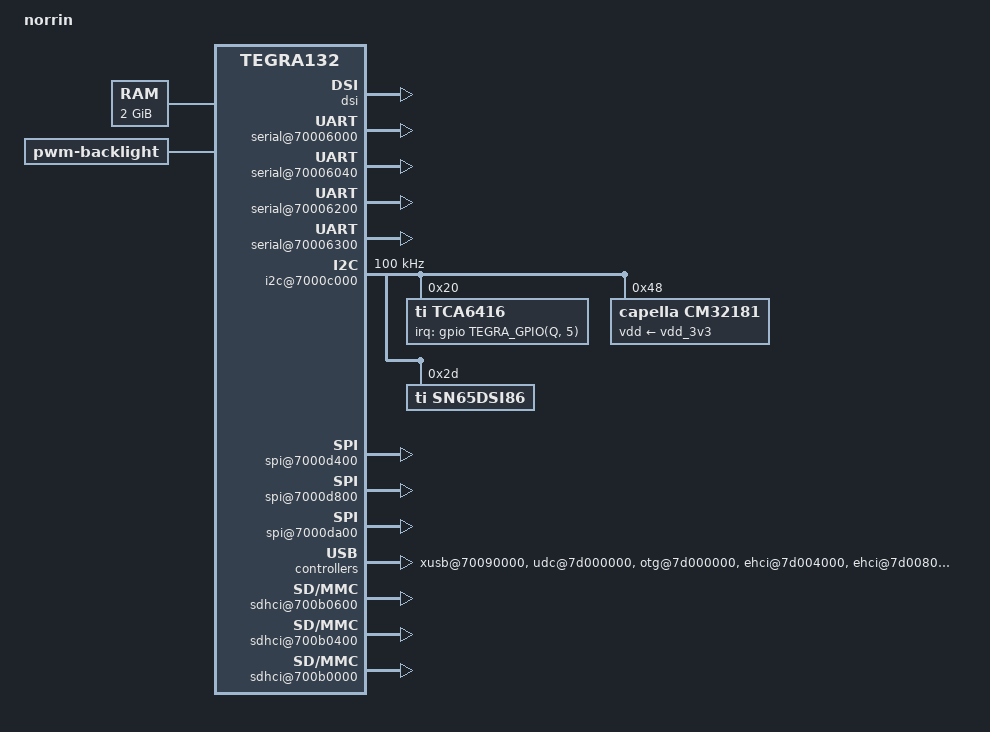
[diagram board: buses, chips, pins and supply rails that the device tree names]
/*
 * Copyright (c) 2014, NVIDIA CORPORATION.  All rights reserved.
 *
 * This program is free software; you can redistribute it and/or modify
 * it under the terms of the GNU General Public License as published by
 * the Free Software Foundation; either version 2 of the License, or
 * (at your option) any later version.
 *
 * This program is distributed in the hope that it will be useful, but WITHOUT
 * ANY WARRANTY; without even the implied warranty of MERCHANTABILITY or
 * FITNESS FOR A PARTICULAR PURPOSE.  See the GNU General Public License for
 * more details.
 *
 * You should have received a copy of the GNU General Public License along
 * with this program; if not, write to the Free Software Foundation, Inc.,
 * 51 Franklin Street, Fifth Floor, Boston, MA  02110-1301, USA.
 */

#define TEGRA132_PACKAGE_IS_MID
#include "tegra132-soc-shield.dtsi"
#include "tegra124-platforms/tegra124-pm374-gpio-default.dtsi"
#include "tegra124-platforms/tegra124-pm374-pinmux.dtsi"
#include "tegra124-platforms/tegra124-norrin-keys-pm374-0000-a00.dtsi"
#include "panel-a-edp-1080p-14-0.dtsi"
#include "panel-a-1080p-14-0.dtsi"
#include "panel-p-wuxga-10-1.dtsi"
#include "tegra124-platforms/tegra124-laguna-hdmi-pm359-1000-a00.dtsi"
#include "tegra124-platforms/tegra124-norrin-power-tree-pm374-0000-a00.dtsi"
#include "tegra132-platforms/tegra132-norrin-camera-a00.dtsi"
#include "tegra132-platforms/tegra132-sdhci.dtsi"

/ {
	model = "norrin";
	compatible = "nvidia,norrin", "nvidia,tegra132";
	#address-cells = <2>;
	#size-cells = <2>;

	chosen {
		bootargs = "tegraid=40.0.0.00.00 vmalloc=256M video=tegrafb earlycon=uart8250,mmio32,0x70006300";
		stdout-path = &uartd;
		linux,initrd-start = <0x82080000>;
		linux,initrd-end = <0x824B5300>;
	};

	firmware {
		android {
			compatible = "android,firmware";
			hardware = "norrin";
		};
	};

	host1x {
		/* tegradc.0 */
		dc@54200000 {
			status = "okay";
			nvidia,dc-flags = <TEGRA_DC_FLAG_ENABLED>;
			nvidia,emc-clk-rate = <204000000>;
			nvidia,cmu-enable = <1>;
			nvidia,low-v-win = <0x2>;
			nvidia,fb-bpp = <32>; /* bits per pixel */
			nvidia,fb-flags = <TEGRA_FB_FLIP_ON_PROBE>;
		};
		/* tegradc.1 */
		dc@54240000 {
			status = "okay";
			nvidia,dc-flags = <TEGRA_DC_FLAG_ENABLED>;
			nvidia,emc-clk-rate = <300000000>;
			nvidia,fb-bpp = <32>; /* bits per pixel */
			nvidia,fb-flags = <TEGRA_FB_FLIP_ON_PROBE>;
		};
		dsi {
			nvidia,dsi-controller-vs = <1>;
			status = "okay";
			panel-a-1080p-14-0 {
				nvidia,dsi-edp-bridge = <TEGRA_DSI_ENABLE>;
				nvidia,panel-rst-gpio = <&gpio TEGRA_GPIO(H, 3) 0>; /* PH3 */
				nvidia,panel-bl-pwm-gpio = <&gpio TEGRA_GPIO(H, 1) 0>; /* PH1 */
				nvidia,panel-bridge-en-0-gpio = <&gpio TEGRA_GPIO(I, 0) 0>; /* PI0 */
				nvidia,panel-bridge-refclk-en-gpio = <&gpio TEGRA_GPIO(G, 4) 0>; /* PG4 */
			};
                        panel-p-wuxga-10-1 {
				nvidia,dsi-dpd-pads = <DSIC_DPD_EN DSID_DPD_EN>;
                                nvidia,panel-rst-gpio = <&gpio TEGRA_GPIO(H, 3) 0>; /* PH3 */
                                nvidia,panel-bl-pwm-gpio = <&gpio TEGRA_GPIO(H, 1) 0>; /* PH1 */
                        };
		};
		sor {
			status = "okay";
			nvidia,hpd-gpio = <&gpio 248 0>; /*PFF0*/
			panel-a-edp-1080p-14-0 {
				nvidia,panel-bl-pwm-gpio = <&gpio TEGRA_GPIO(H, 1) 0>; /* PH1 */
			};
		};
		dpaux {
			status = "okay";
		};
	};

	serial@70006000 {
		compatible = "nvidia,tegra114-hsuart";
		status = "okay";
	};

	serial@70006040 {
		compatible = "nvidia,tegra114-hsuart";
		status = "okay";
	};

	serial@70006200 {
		compatible = "nvidia,tegra114-hsuart";
		status = "okay";
	};

	serial@70006300 {
		compatible = "nvidia,tegra20-uart", "nvidia,tegra114-hsuart";
		console-port;
		sqa-automation-port;
		status = "okay";
	};

	i2c@7000c000 {
		clock-frequency = <100000>;

		tca6416: gpio@20 {
			compatible = "ti,tca6416";
			reg = <0x20>;
			interrupt-parent = <&gpio>;
			interrupts = <TEGRA_GPIO(Q, 5) 0x0>;

			#gpio-cells = <2>;
			gpio-controller;

			#interrupt-cells = <2>;
			interrupt-controller;
		};

		cm32181@48 {
			compatible = "capella,cm32181";
			reg = <0x48>;
			vdd-supply = <&vdd_3v3>;
		};

		sn65dsi86@2d {
			compatible = "ti,sn65dsi86";
			reg = <0x2d>;
			status = "okay";
		};
	};

	i2c@7000d000 {
		nvidia,bit-banging-xfer-after-shutdown;
	};

	memory@0x80000000 {
		device_type = "memory";
		reg = <0x0 0x80000000 0x0 0x80000000>;
	};

	spi@7000d400 {
		status = "okay";
		spi-max-frequency = <25000000>;
	};

	spi@7000d800 {
		status = "okay";
		spi-max-frequency = <25000000>;
	};

	spi@7000da00 {
		status = "okay";
		spi-max-frequency = <25000000>;
	};

	pmc@7000e400 {
		status = "okay";
		nvidia,invert-interrupt;
		nvidia,suspend-mode = <0>;
		nvidia,cpu-pwr-good-time = <2000>;
		nvidia,cpu-pwr-off-time = <2000>;
		nvidia,core-pwr-good-time = <3845 3845>;
		nvidia,core-pwr-off-time = <2000>;
		nvidia,core-power-req-active-high;
		nvidia,sys-clock-req-active-high;
	};

	dfll@70040084 {
		board-params = <&{/cpu_dfll_board_params}>;
		i2c-pmic-integration = <&{/cpu_dfll_pmic_integration}>;
		monitor-data-new-workaround;
		status = "okay";
	};

	cpu_dfll_board_params {
		sample-rate = <12500>;
		fixed-output-forcing;
		cf = <10>;
		ci = <0>;
		cg = <2>;
		droop-cut-value = <0xf>;
		droop-restore-ramp = <0x0>;
		scale-out-ramp = <0x0>;
	};

	cpu_dfll_pmic_integration {
		pmic-i2c-address = <0x80>;
		pmic-i2c-voltage-register = <0x00>;
		i2c-fs-rate = <400000>;
		sel-conversion-slope = <1>;
	};

	xusb@70090000 {
		/* nvidia,uses_external_pmic;
		nvidia,gpio_controls_muxed_ss_lanes; */
		nvidia,gpio_ss1_sata = <0>;
		nvidia,portmap = <0x703>; /* SSP0, SSP1 USB2P0, USB2P1, USBP2 */
		nvidia,ss_portmap = <0x20>; /* SSP0 on USB2P0, SSP1 on USB2P2 */
		nvidia,lane_owner = <6>; /* USB3P0 USB3P1 */
		nvidia,ulpicap = <0>; /* No ulpi support. can we remove */
		/* hsic config values in order defined in structure */
		nvidia,hsic0 = /bits/8 <0x1 0x1 0x8 0xa 0 0 1 0x22 0>;
		status = "okay";
	};

	udc@7d000000 {
		nvidia,port-otg;
		nvidia,charging-supported;
		nvidia,id-detection-type = <1>;
		#extcon-cells = <1>;
		avdd_pll_utmip-supply = <&dcdc_1v8>;
		avdd_usb-supply = <&as3722_gpio2>;
		nvidia,id-detection-type=<1>;
		status = "okay";
	};

	otg@7d000000 {
		nvidia,id-detection-type = <1>;
		extcon-cables = <&adc_extcon 0>;
		extcon-cable-names = "id";
		#extcon-cells = <1>;
		usb_vbus-supply = <&usb0_vbus>;
		status = "okay";
		ehci1: ehci {
			nvidia,id-detection-type=<1>;
		};
	};

	psy_extcon {
		compatible = "power-supply-extcon";
		extcon-cables = <&udc 1 &udc 2 &udc 3
				&udc 4 &udc 5 &udc 6
				&udc 7 &udc 8 &udc 9
				&udc 10 &otg 0>;
		extcon-cable-names = "usb-charger", "ta-charger", "maxim-charger",
				"qc2-charger", "downstream-charger","fast-charger",
				"slow-charger", "apple-500ma", "apple-1a",
				"apple-2a", "y-cable";
	};

	denver_cpuidle_pmic {
		type = <1>; /* AMS 3722/3723 */
		retention-voltage = <15>; /* vret = .55V */
		lock = <0>;
	};

	ehci@7d004000 {
		avdd_usb-supply = <&as3722_gpio2>;
		avdd_pll_utmip-supply = <&dcdc_1v8>;
		usb_vbus-supply = <&usb1_usb2_vbus>;
		vddio_hsic-supply = <&as3722_ldo2>;
		status = "okay";
	};

	ehci@7d008000 {
		avdd_usb-supply = <&as3722_gpio2>;
		avdd_pll_utmip-supply = <&dcdc_1v8>;
		usb_vbus-supply = <&usb1_usb2_vbus>;
		status = "okay";
	};

	backlight {
		compatible = "pwm-backlight";
		status = "okay";
	};

	sdhci@700b0600 {
		status = "okay";
	};

	sdhci@700b0400 {
		status = "okay";
	};

	sdhci@700b0000 {
		status = "okay";
	};

	cpu_edp {
		nvidia,edp_limit = <32000>;
	};
	gpu_edp {
		nvidia,edp_limit = <16000>;
	};
};
